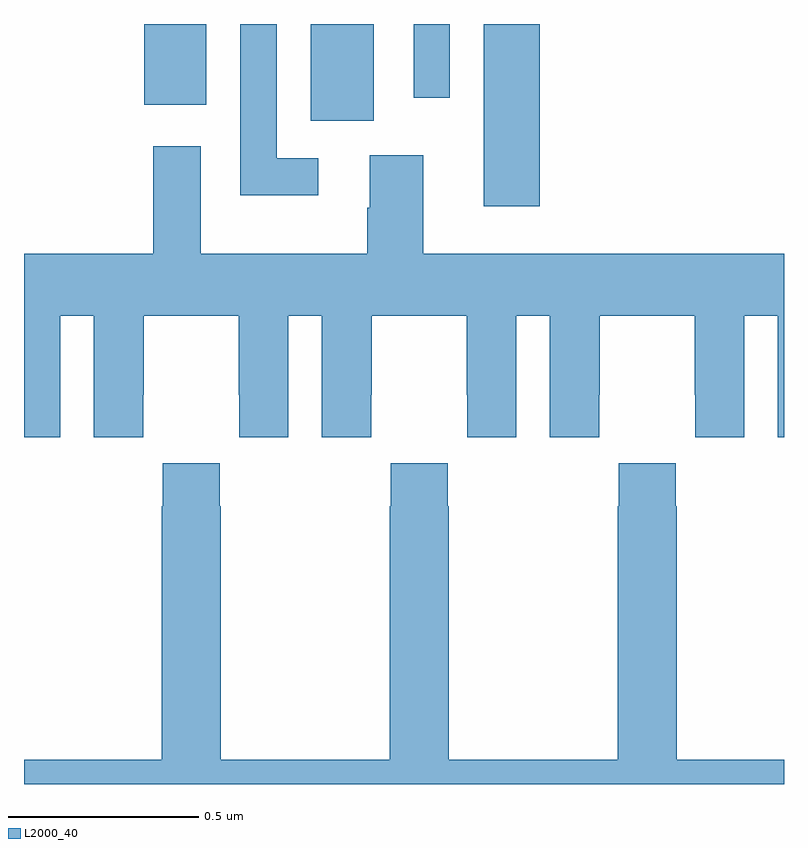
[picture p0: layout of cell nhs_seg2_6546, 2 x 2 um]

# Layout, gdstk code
import gdstk
lib = gdstk.Library(unit=1e-6, precision=1e-09)
def R(c, l, rs):  # rectangles x0, y0, x1, y1
    for r in rs: c.add(gdstk.rectangle(r[:2], r[2:], *l))
def P(c, l, *ps):  # polygons
    for p in ps: c.add(gdstk.Polygon(p, *l))
L2000_40 = (2000, 40)

nhs_seg2_6546 = lib.new_cell('nhs_seg2_6546')
R(nhs_seg2_6546, L2000_40, [(194.21,585.321,194.357,585.8), (193.754,585.546,193.921,585.8), (193.316,585.587,193.48,585.8), (194.025,585.606,194.121,585.8)])
P(nhs_seg2_6546, L2000_40, [(193.774,585.447),(193.665,585.447),(193.665,585.8),(193.569,585.8),(193.569,585.35),(193.774,585.35)],
  [(193.096,585.032),(193.184,585.032),(193.184,584.712),(193.314,584.712),(193.314,584.824),(193.315,584.824),(193.315,585.032),(193.565,585.032),(193.565,584.824),(193.566,584.824),(193.566,584.712),(193.696,584.712),(193.696,585.032),(193.784,585.032),(193.784,584.712),(193.914,584.712),(193.914,584.824),(193.915,584.824),(193.915,585.032),(194.165,585.032),(194.165,584.824),(194.166,584.824),(194.166,584.712),(194.296,584.712),(194.296,585.032),(194.384,585.032),(194.384,584.712),(194.514,584.712),(194.514,584.824),(194.515,584.824),(194.515,585.032),(194.765,585.032),(194.765,584.824),(194.766,584.824),(194.766,584.712),(194.896,584.712),(194.896,585.032),(194.984,585.032),(194.984,584.712),(195,584.712),(195,585.196),(194.05,585.196),(194.05,585.454),(193.91,585.454),(193.91,585.317),(193.903,585.317),(193.903,585.196),(193.465,585.196),(193.465,585.478),(193.34,585.478),(193.34,585.196),(193,585.196),(193,584.712),(193.096,584.712)],
  [(195,583.864),(194.718,583.864),(194.718,584.531),(194.715,584.531),(194.715,584.644),(194.565,584.644),(194.565,584.531),(194.563,584.531),(194.563,583.864),(194.118,583.864),(194.118,584.531),(194.115,584.531),(194.115,584.644),(193.965,584.644),(193.965,584.531),(193.963,584.531),(193.963,583.864),(193.518,583.864),(193.518,584.531),(193.515,584.531),(193.515,584.644),(193.365,584.644),(193.365,584.531),(193.363,584.531),(193.363,583.864),(193,583.864),(193,583.8),(195,583.8)])

lib.write_gds('nhs_seg2_6546.gds')
